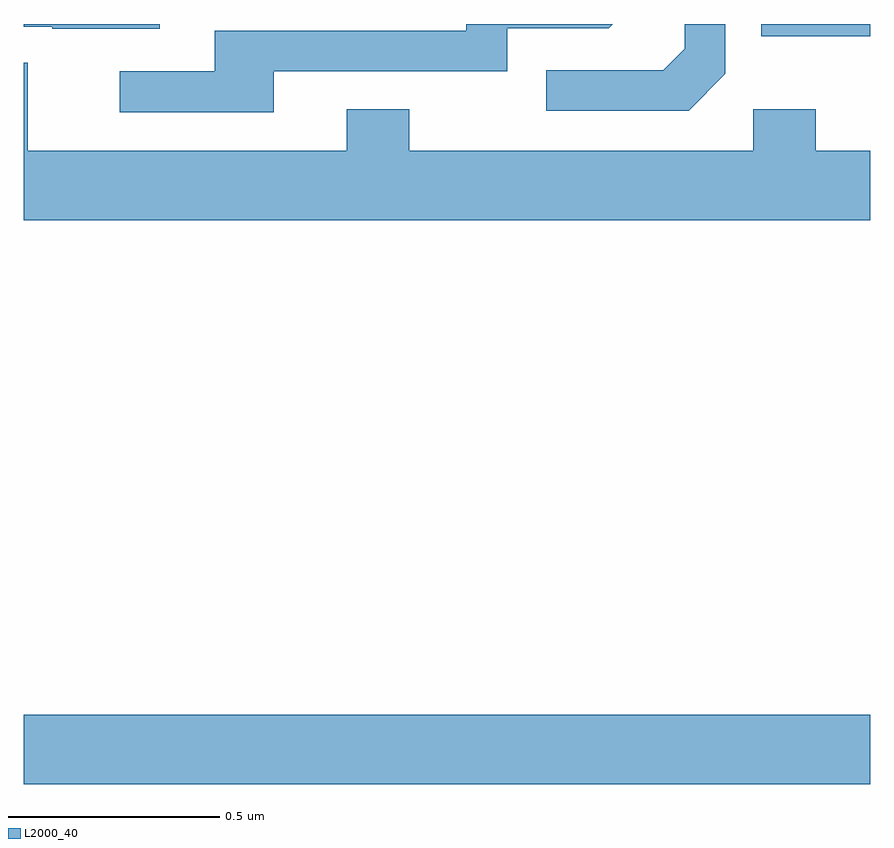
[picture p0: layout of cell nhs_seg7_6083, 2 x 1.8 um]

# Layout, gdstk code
import gdstk
lib = gdstk.Library(unit=1e-6, precision=1e-09)
def R(c, l, rs):  # rectangles x0, y0, x1, y1
    for r in rs: c.add(gdstk.rectangle(r[:2], r[2:], *l))
def P(c, l, *ps):  # polygons
    for p in ps: c.add(gdstk.Polygon(p, *l))
L2000_40 = (2000, 40)

nhs_seg7_6083 = lib.new_cell('nhs_seg7_6083')
R(nhs_seg7_6083, L2000_40, [(193,1079.204,195,1079.368), (194.743,1080.971,195,1081)])
P(nhs_seg7_6083, L2000_40, [(193.591,1080.888),(194.142,1080.888),(194.142,1080.99),(194.382,1080.99),(194.392,1081),(194.046,1081),(194.046,1080.984),(193.451,1080.984),(193.451,1080.888),(193.227,1080.888),(193.227,1080.792),(193.591,1080.792)],
  [(193.321,1081),(193,1081),(193,1080.993),(193.067,1080.993),(193.067,1080.989),(193.321,1080.989)],
  [(194.658,1080.882),(194.658,1081),(194.562,1081),(194.562,1080.942),(194.511,1080.891),(194.235,1080.891),(194.235,1080.795),(194.571,1080.795)],
  [(195,1080.7),(194.871,1080.7),(194.871,1080.799),(194.724,1080.799),(194.724,1080.7),(193.911,1080.7),(193.911,1080.799),(193.763,1080.799),(193.763,1080.7),(193.009,1080.7),(193.009,1080.908),(193,1080.908),(193,1080.536),(195,1080.536)])

lib.write_gds('nhs_seg7_6083.gds')
